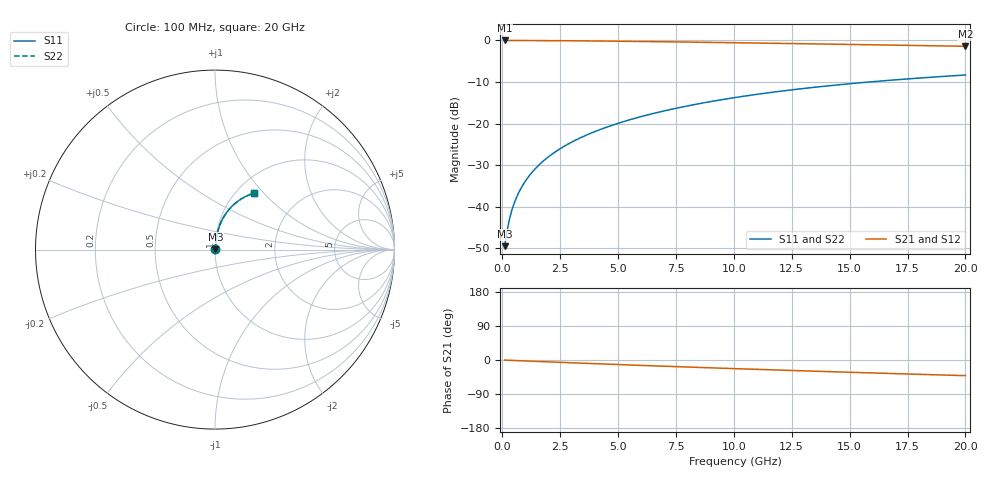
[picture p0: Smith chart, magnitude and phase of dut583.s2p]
! Touchstone file exported from HFSS 2024.1.0
!  File:  C:/UserFiles/LocalFiles/RDL_TSV_Batchsim/temp_RDL_top_583_1779682166.aedt
!  Generated:  12:11:23 PM May 25, 2026
!  Design:  RDL_top
!  Project:  temp_RDL_top_583_1779682166
!  Setup:  Setup1
!  Solution:  Sweep
! Variables:
!  dtsv = 10.80580581um
!  hbump = 3um
!  htsv = 64.28um
!  ldown = 100um
!  lrdl = 592.35um
!  p = 40
!  p1 = 47.18um
!  rhole = 1um
!  t = 450um
!  tdown = 3.915915916um
!  trdl = 4.67um
!  wdown = 15.38538539um
!  wrdl = 18.27um
# GHz S MA R 50.000000
! Terminal data exported
! Port[1] = Box2_T1
! Port[2] = Box2_T2
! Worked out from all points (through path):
!   200 points, 100 MHz to 20 GHz, reference 50 ohm
!   highest |S21| = -0.02 dB at 100 MHz (marker M1); lowest = -1.4 dB at 20 GHz (marker M2)
!   group delay of S21, straight-line fit = 5.69 ps
!   lowest |S11| = -49.4 dB at 100 MHz (marker M3), VSWR 1.01, Z = 50.3 + j0.217 ohm
!   |S11| at or under -10 dB: start of sweep to 15.84 GHz
!   |S22| runs from -49.4 to -8.3 dB; largest |S21 - S12| = 2e-15
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0.1  0.003372 39.8  0.9974 -0.3  0.9974 -0.3  0.003372 39.8
! Gamma 0 0 0 0
! Port Impedance 50 0 50 0
0.2  0.005056 57.7  0.9973 -0.5  0.9973 -0.5  0.005056 57.7
0.3  0.006948 65.8  0.9971 -0.8  0.9971 -0.8  0.006948 65.8
0.4  0.008876 70.3  0.9969 -1.0  0.9969 -1.0  0.008878 70.3
0.5  0.0108 73.1  0.9968 -1.3  0.9968 -1.3  0.01081 73.1
0.6  0.01273 75.1  0.9966 -1.5  0.9966 -1.5  0.01273 75.1
0.8  0.01658 77.8  0.9962 -2.0  0.9962 -2.0  0.01658 77.8
1.1  0.02238 80.1  0.9957 -2.7  0.9957 -2.7  0.02239 80.1
1.5  0.03019 81.7  0.9947 -3.7  0.9947 -3.7  0.03019 81.7
1.8  0.03609 82.4  0.9938 -4.5  0.9938 -4.5  0.03609 82.3
2.1  0.04203 82.8  0.9927 -5.2  0.9927 -5.2  0.04203 82.7
2.7  0.05399 83.0  0.9903 -6.6  0.9903 -6.6  0.05398 83.0
3.5  0.07011 82.8  0.9862 -8.5  0.9862 -8.5  0.07009 82.7
4.2  0.08436 82.3  0.9821 -10.2  0.9821 -10.2  0.08433 82.2
5  0.1008 81.5  0.9769 -12.0  0.9769 -12.0  0.1008 81.4
5.9  0.1195 80.4  0.9705 -14.0  0.9705 -14.0  0.1194 80.3
6.8  0.1382 79.1  0.9637 -16.0  0.9637 -16.0  0.1381 79.0
8.4  0.1716 76.5  0.9509 -19.4  0.9509 -19.4  0.1714 76.4
10.1  0.2066 73.5  0.9366 -22.9  0.9366 -22.9  0.2064 73.4
13.4  0.2717 67.4  0.9079 -29.4  0.9079 -29.4  0.2713 67.3
16.7  0.331 61.3  0.8786 -35.5  0.8786 -35.5  0.3305 61.2
20  0.3834 55.4  0.8493 -41.3  0.8493 -41.3  0.3828 55.3
